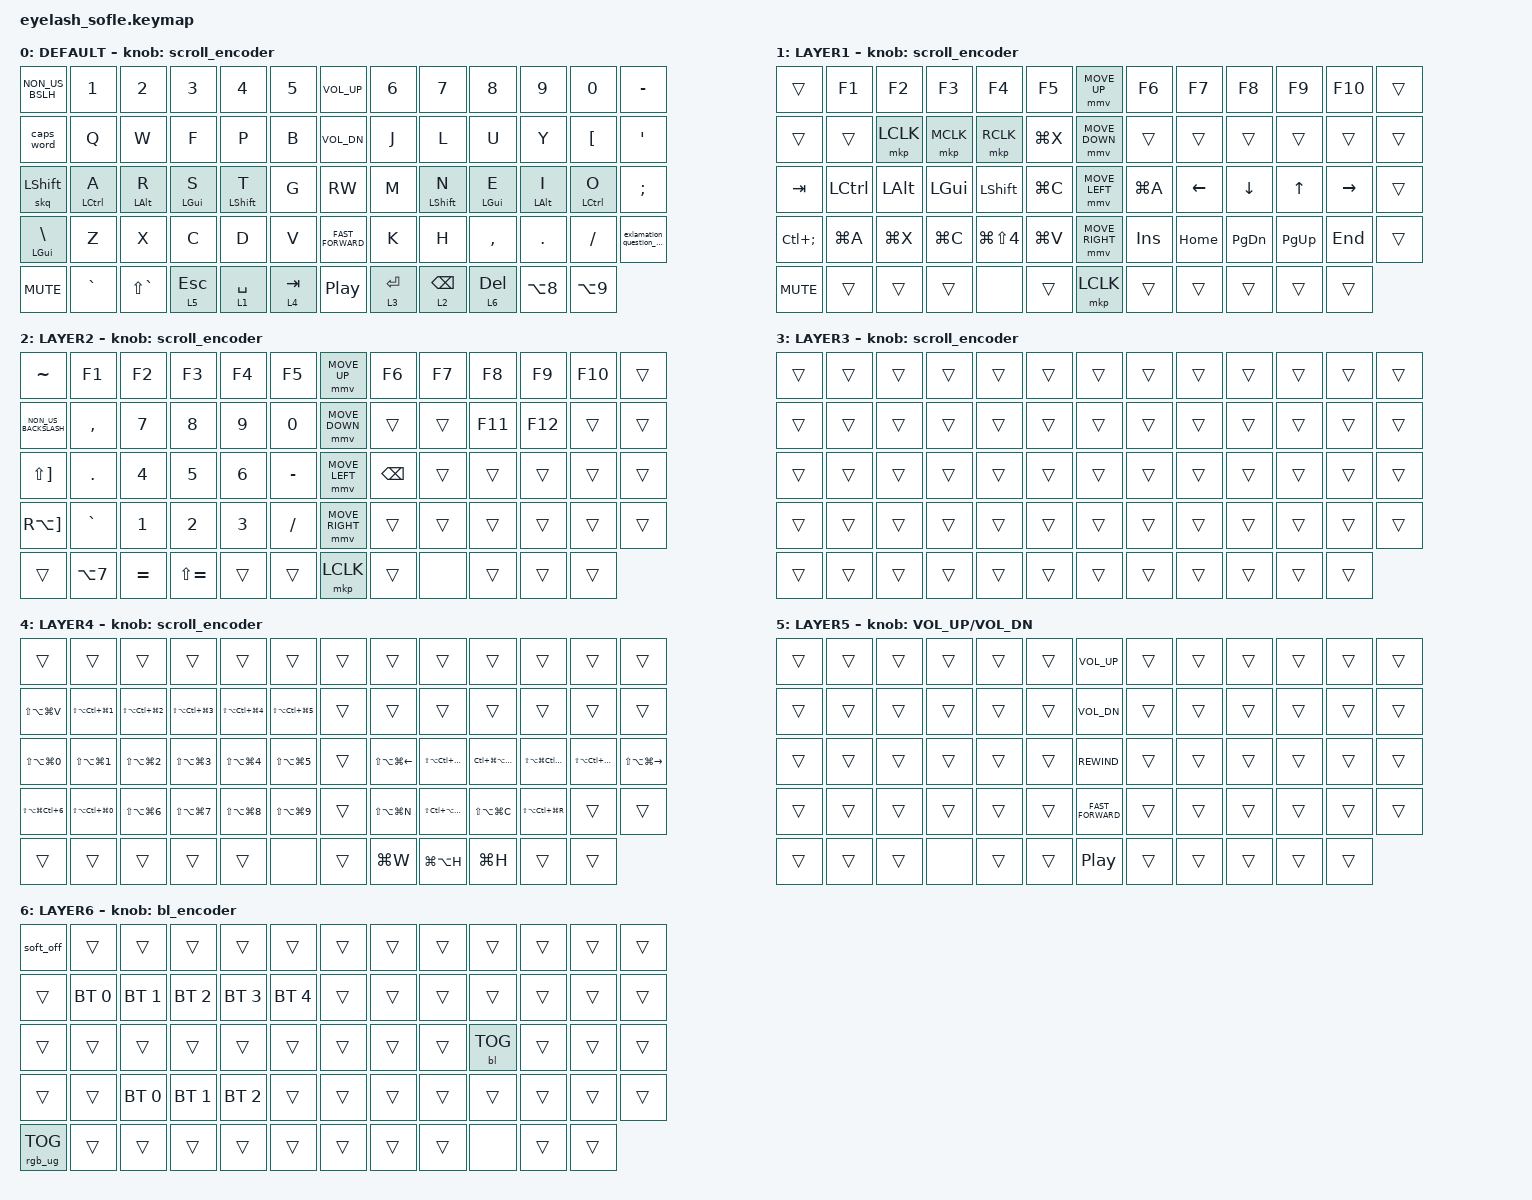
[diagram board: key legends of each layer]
#define ZMK_POINTING_DEFAULT_MOVE_VAL 1200  // 600
#define ZMK_POINTING_DEFAULT_SCRL_VAL 25   // 10

#include <input/processors.dtsi>
#include <zephyr/dt-bindings/input/input-event-codes.h>
#include "alias_sofle.h"
#include <behaviors.dtsi>
#include <dt-bindings/zmk/backlight.h>
#include <dt-bindings/zmk/bt.h>
#include <dt-bindings/zmk/keys.h>
#include <dt-bindings/zmk/pointing.h>
#include <dt-bindings/zmk/rgb.h>

&mmv_input_listener { input-processors = <&zip_xy_scaler 2 1>; };

&msc_input_listener { input-processors = <&zip_scroll_scaler 2 1>; };

&msc {
    acceleration-exponent = <1>;      // 0
    time-to-max-speed-ms = <100>;       // 300
    delay-ms = <0>;                   // 0
};

&mmv {
    time-to-max-speed-ms = <500>;
    acceleration-exponent = <1>;
    trigger-period-ms = <16>;
};

// Homerow mods
#define HRM_BEHAVIOR "tap-preferred"
#define HRM_TAPPING_TERM_MS 180
#define HRM_REQUIRE_PRIOR_IDLE_MS 80
#define HRM_QUICK_TAP_MS 160
#define COMBO_TIMEOUT_MS 30
#define COMBO_REQUIRE_PRIOR_IDLE_MS 80

/ {
    scroll_encoder: scroll_encoder {
        compatible = "zmk,behavior-sensor-rotate";
        #sensor-binding-cells = <0>;
        bindings = <&msc SCRL_DOWN>, <&msc SCRL_UP>;

        tap-ms = <100>;
    };

    hml: homerow_mods_left {
        compatible = "zmk,behavior-hold-tap";
        label = "HOMEROW_MODS_LEFT";
        flavor =
        HRM_BEHAVIOR;
        tapping-term-ms = <HRM_TAPPING_TERM_MS>;
        quick-tap-ms = <HRM_QUICK_TAP_MS>;
        require-prior-idle-ms = <HRM_REQUIRE_PRIOR_IDLE_MS>;
        hold-trigger-key-positions = <KEYS_R KEYS_T>;
        hold-trigger-on-release;
        #binding-cells = <2>;
        bindings = <&kp>, <&kp>;
    };

    hmr: homerow_mods_right {
        compatible = "zmk,behavior-hold-tap";
        label = "HOMEROW_MODS_RIGHT";
        flavor =
        HRM_BEHAVIOR;
        tapping-term-ms = <HRM_TAPPING_TERM_MS>;
        quick-tap-ms = <HRM_QUICK_TAP_MS>;
        require-prior-idle-ms = <HRM_REQUIRE_PRIOR_IDLE_MS>;
        hold-trigger-key-positions = <KEYS_L KEYS_T>;
        hold-trigger-on-release;
        #binding-cells = <2>;
        bindings = <&kp>, <&kp>;
    };

    exlamation_question_mark: exlamation_question_mark {
        compatible = "zmk,behavior-mod-morph";
        label = "EXLAMATION_QUESTION_MARK";
        bindings = <&kp LS(NUMBER_1)>, <&kp MINUS>;

        #binding-cells = <0>;
        mods = <(MOD_LSFT)>;
        keep-mods = <(MOD_LSFT)>;
    };

    thumb_layers: thumb_layers {
        compatible = "zmk,behavior-hold-tap";
        label = "THUMB_LAYERS";
        flavor =
        HRM_BEHAVIOR;
        tapping-term-ms = <HRM_TAPPING_TERM_MS>;
        quick-tap-ms = <HRM_QUICK_TAP_MS>;
        require-prior-idle-ms = <HRM_REQUIRE_PRIOR_IDLE_MS>;
        hold-trigger-on-release;
        #binding-cells = <2>;
        bindings = <&mo>, <&kp>;
    };

    behaviors {
        skq: sticky_key_quick_release {
            compatible = "zmk,behavior-sticky-key";
            #binding-cells = <1>;
            bindings = <&kp>;
            release-after-ms = <1000>;
            quick-release;
            ignore-modifiers;
        };

        bl_encoder: bl_encoder {
            compatible = "zmk,behavior-sensor-rotate";
            label = "BL_ENCODER";
            #sensor-binding-cells = <0>;
            bindings = <&rgb_ug RGB_BRI>, <&rgb_ug RGB_BRD>;
        };
    };

    combos {
        compatible = "zmk,combos";

        left_parenthesis {
            bindings = <&kp LS(N8)>;
            key-positions = <30 29>;
            layers = <0>;
            require-prior-idle-ms = <COMBO_REQUIRE_PRIOR_IDLE_MS>;
            timeout-ms = <COMBO_TIMEOUT_MS>;
        };

        right_parenthesis {
            bindings = <&kp LS(N9)>;
            key-positions = <34 35>;
            layers = <0>;
            require-prior-idle-ms = <COMBO_REQUIRE_PRIOR_IDLE_MS>;
            timeout-ms = <COMBO_TIMEOUT_MS>;
        };

        left_bracket {
            bindings = <&kp LA(N8)>;
            key-positions = <30 28>;
            layers = <0>;
            require-prior-idle-ms = <COMBO_REQUIRE_PRIOR_IDLE_MS>;
            timeout-ms = <COMBO_TIMEOUT_MS>;
        };

        right_bracket {
            bindings = <&kp LA(N9)>;
            key-positions = <34 36>;
            timeout-ms = <COMBO_TIMEOUT_MS>;
            require-prior-idle-ms = <COMBO_REQUIRE_PRIOR_IDLE_MS>;
            layers = <0>;
        };

        left_curly {
            bindings = <&kp LA(LS(N8))>;
            key-positions = <30 27>;
            timeout-ms = <COMBO_TIMEOUT_MS>;
            require-prior-idle-ms = <COMBO_REQUIRE_PRIOR_IDLE_MS>;
            layers = <0>;
        };

        right_curly {
            bindings = <&kp LA(LS(N9))>;
            key-positions = <34 37>;
            timeout-ms = <COMBO_TIMEOUT_MS>;
            require-prior-idle-ms = <COMBO_REQUIRE_PRIOR_IDLE_MS>;
            layers = <0>;
        };

        less_than {
            bindings = <&kp GRAVE>;
            key-positions = <29 31>;
            timeout-ms = <COMBO_TIMEOUT_MS>;
            require-prior-idle-ms = <COMBO_REQUIRE_PRIOR_IDLE_MS>;
            layers = <0>;
        };

        greater_than {
            bindings = <&kp LS(GRAVE)>;
            key-positions = <33 35>;
            timeout-ms = <COMBO_TIMEOUT_MS>;
            require-prior-idle-ms = <COMBO_REQUIRE_PRIOR_IDLE_MS>;
            layers = <0>;
        };

        equal {
            bindings = <&kp LS(N0)>;
            key-positions = <16 18>;
            timeout-ms = <COMBO_TIMEOUT_MS>;
            require-prior-idle-ms = <COMBO_REQUIRE_PRIOR_IDLE_MS>;
            layers = <0>;
        };

        star {
            bindings = <&kp LS(BACKSLASH)>;
            key-positions = <31 30>;
            timeout-ms = <COMBO_TIMEOUT_MS>;
            require-prior-idle-ms = <COMBO_REQUIRE_PRIOR_IDLE_MS>;
            layers = <0>;
        };

        quote {
            bindings = <&kp LS(NUMBER_2)>;
            key-positions = <30 29>;
            timeout-ms = <COMBO_TIMEOUT_MS>;
            require-prior-idle-ms = <COMBO_REQUIRE_PRIOR_IDLE_MS>;
            layers = <0>;
        };

        hash {
            bindings = <&kp LS(NUMBER_3)>;
            key-positions = <41 43>;
            timeout-ms = <COMBO_TIMEOUT_MS>;
            require-prior-idle-ms = <COMBO_REQUIRE_PRIOR_IDLE_MS>;
            layers = <0>;
        };

        tilde {
            bindings = <&kp RA(RIGHT_BRACKET)>;
            key-positions = <15 14>;
            timeout-ms = <COMBO_TIMEOUT_MS>;
            require-prior-idle-ms = <COMBO_REQUIRE_PRIOR_IDLE_MS>;
            layers = <0>;
        };

        plus {
            bindings = <&kp MINUS>;
            key-positions = <16 17>;
            timeout-ms = <COMBO_TIMEOUT_MS>;
            require-prior-idle-ms = <COMBO_REQUIRE_PRIOR_IDLE_MS>;
            layers = <0>;
        };

        forward_slash {
            bindings = <&kp LS(N7)>;
            key-positions = <15 17>;
            timeout-ms = <COMBO_TIMEOUT_MS>;
            require-prior-idle-ms = <COMBO_REQUIRE_PRIOR_IDLE_MS>;
            layers = <0>;
        };

        backward_slash {
            bindings = <&kp LS(LA(N7))>;
            key-positions = <16 15>;
            timeout-ms = <COMBO_TIMEOUT_MS>;
            require-prior-idle-ms = <COMBO_REQUIRE_PRIOR_IDLE_MS>;
            layers = <0>;
        };

        n_1 {
            bindings = <&kp NUMBER_1>;
            key-positions = <56 41>;
            timeout-ms = <COMBO_TIMEOUT_MS>;
            require-prior-idle-ms = <COMBO_REQUIRE_PRIOR_IDLE_MS>;
            layers = <0>;
        };

        n_2 {
            bindings = <&kp NUMBER_2>;
            key-positions = <56 42>;
            timeout-ms = <COMBO_TIMEOUT_MS>;
            require-prior-idle-ms = <COMBO_REQUIRE_PRIOR_IDLE_MS>;
            layers = <0>;
        };

        n_3 {
            bindings = <&kp NUMBER_3>;
            key-positions = <43 56>;
            timeout-ms = <COMBO_TIMEOUT_MS>;
            require-prior-idle-ms = <COMBO_REQUIRE_PRIOR_IDLE_MS>;
            layers = <0>;
        };

        n_4 {
            bindings = <&kp NUMBER_4>;
            key-positions = <56 28>;
            timeout-ms = <COMBO_TIMEOUT_MS>;
            require-prior-idle-ms = <COMBO_REQUIRE_PRIOR_IDLE_MS>;
            layers = <0>;
        };

        n_5 {
            bindings = <&kp N5>;
            key-positions = <56 29>;
            timeout-ms = <COMBO_TIMEOUT_MS>;
            require-prior-idle-ms = <COMBO_REQUIRE_PRIOR_IDLE_MS>;
            layers = <0>;
        };

        n_6 {
            bindings = <&kp NUMBER_6>;
            key-positions = <56 30>;
            timeout-ms = <COMBO_TIMEOUT_MS>;
            require-prior-idle-ms = <COMBO_REQUIRE_PRIOR_IDLE_MS>;
            layers = <0>;
        };

        n_7 {
            bindings = <&kp N7>;
            key-positions = <15 56>;
            timeout-ms = <COMBO_TIMEOUT_MS>;
            require-prior-idle-ms = <COMBO_REQUIRE_PRIOR_IDLE_MS>;
            layers = <0>;
        };

        n_8 {
            bindings = <&kp N8>;
            key-positions = <16 56>;
            timeout-ms = <COMBO_TIMEOUT_MS>;
            require-prior-idle-ms = <COMBO_REQUIRE_PRIOR_IDLE_MS>;
            layers = <0>;
        };

        n_9 {
            bindings = <&kp N9>;
            key-positions = <56 17>;
            timeout-ms = <COMBO_TIMEOUT_MS>;
            require-prior-idle-ms = <COMBO_REQUIRE_PRIOR_IDLE_MS>;
            layers = <0>;
        };

        n_0 {
            bindings = <&kp N0>;
            key-positions = <18 56>;
            timeout-ms = <COMBO_TIMEOUT_MS>;
            require-prior-idle-ms = <COMBO_REQUIRE_PRIOR_IDLE_MS>;
            layers = <0>;
        };

        underscore {
            bindings = <&kp LS(FSLH)>;
            key-positions = <48 47>;
            timeout-ms = <COMBO_TIMEOUT_MS>;
            require-prior-idle-ms = <COMBO_REQUIRE_PRIOR_IDLE_MS>;
            layers = <0>;
        };

        colon {
            bindings = <&kp LS(PERIOD)>;
            key-positions = <49 48>;
            timeout-ms = <COMBO_TIMEOUT_MS>;
            require-prior-idle-ms = <COMBO_REQUIRE_PRIOR_IDLE_MS>;
            layers = <0>;
        };

        semi_colon {
            bindings = <&kp LS(COMMA)>;
            key-positions = <49 47>;
            timeout-ms = <COMBO_TIMEOUT_MS>;
            require-prior-idle-ms = <COMBO_REQUIRE_PRIOR_IDLE_MS>;
            layers = <0>;
        };

        at_sign {
            bindings = <&kp LA(NUMBER_2)>;
            key-positions = <42 41>;
            timeout-ms = <COMBO_TIMEOUT_MS>;
            require-prior-idle-ms = <COMBO_REQUIRE_PRIOR_IDLE_MS>;
            layers = <0>;
        };

        ampersand {
            bindings = <&kp LS(NUMBER_6)>;
            key-positions = <44 43>;
            timeout-ms = <COMBO_TIMEOUT_MS>;
            require-prior-idle-ms = <COMBO_REQUIRE_PRIOR_IDLE_MS>;
            layers = <0>;
        };

        percent {
            bindings = <&kp LS(N5)>;
            key-positions = <40 43>;
            timeout-ms = <50>;
            require-prior-idle-ms = <COMBO_REQUIRE_PRIOR_IDLE_MS>;
            layers = <0>;
        };

        pipe {
            bindings = <&kp LA(N7)>;
            key-positions = <44 42>;
            timeout-ms = <COMBO_TIMEOUT_MS>;
            require-prior-idle-ms = <COMBO_REQUIRE_PRIOR_IDLE_MS>;
            layers = <0>;
        };

        string_literal {
            bindings = <&kp LS(EQUAL)>;
            key-positions = <33 34>;
            timeout-ms = <COMBO_TIMEOUT_MS>;
            require-prior-idle-ms = <COMBO_REQUIRE_PRIOR_IDLE_MS>;
            layers = <0>;
        };
    };

    keymap {
        compatible = "zmk,keymap";

        DEFAULT {
            bindings = <
&kp NON_US_BSLH         &kp N1               &kp N2           &kp N3               &kp N4                 &kp N5                 &kp C_VOLUME_UP     &kp N6                 &kp N7                     &kp N8                  &kp N9            &kp N0               &kp MINUS
&caps_word              &kp Q                &kp W            &kp F                &kp P                  &kp B                  &kp C_VOL_DN        &kp J                  &kp L                      &kp U                   &kp Y             &kp LBKT             &kp SQT
&skq LEFT_SHIFT         &hml LEFT_CONTROL A  &hml LEFT_ALT R  &hml LEFT_GUI S      &hml LEFT_SHIFT T      &kp G                  &kp C_RW            &kp M                  &hmr LEFT_SHIFT N          &hmr LEFT_GUI E         &hmr LEFT_ALT I   &hmr LEFT_CONTROL O  &kp SEMI
&mt LEFT_GUI BACKSLASH  &kp Z                &kp X            &kp C                &kp D                  &kp V                  &kp C_FAST_FORWARD  &kp K                  &kp H                      &kp COMMA               &kp DOT           &kp FSLH             &exlamation_question_mark
&kp C_MUTE              &kp GRAVE            &kp LS(GRAVE)    &thumb_layers 5 ESC  &thumb_layers 1 SPACE  &thumb_layers 4 TAB    &kp C_PP            &thumb_layers 3 ENTER  &thumb_layers 2 BACKSPACE  &thumb_layers 6 DELETE  &kp LA(NUMBER_8)  &kp LA(NUMBER_9)
            >;

            sensor-bindings = <&scroll_encoder>;
            display-name = "DEFAULT";
        };

        LAYER1 {
            bindings = <
&trans        &kp F1            &kp F2        &kp F3        &kp F4                &kp F5       &mmv MOVE_UP     &kp F6      &kp F7    &kp F8         &kp F9        &kp F10    &trans
&trans        &trans            &mkp LCLK     &mkp MCLK     &mkp RCLK             &kp LG(X)    &mmv MOVE_DOWN   &trans      &trans    &trans         &trans        &trans     &trans
&kp TAB       &kp LEFT_CONTROL  &kp LEFT_ALT  &kp LEFT_GUI  &kp LEFT_SHIFT        &kp LG(C)    &mmv MOVE_LEFT   &kp LG(A)   &kp LEFT  &kp DOWN       &kp UP_ARROW  &kp RIGHT  &trans
&kp LC(SEMI)  &kp LG(A)         &kp LG(X)     &kp LG(C)     &kp LG(LS(NUMBER_4))  &kp LG(V)    &mmv MOVE_RIGHT  &kp INSERT  &kp HOME  &kp PAGE_DOWN  &kp PAGE_UP   &kp END    &trans
&kp C_MUTE    &trans            &trans        &trans        &none                 &trans       &mkp LCLK        &trans      &trans    &trans         &trans        &trans
            >;

            display-name = "LAYER1";
            sensor-bindings = <&scroll_encoder>;
        };

        LAYER2 {
            bindings = <
&kp TILDE              &kp F1      &kp F2        &kp F3         &kp F4        &kp F5       &mmv MOVE_UP     &kp F6         &kp F7  &kp F8   &kp F9   &kp F10  &trans
&kp NON_US_BACKSLASH   &kp COMMA   &kp N7        &kp N8         &kp N9        &kp N0       &mmv MOVE_DOWN   &trans         &trans  &kp F11  &kp F12  &trans   &trans
&kp LS(RIGHT_BRACKET)  &kp DOT     &kp NUMBER_4  &kp N5         &kp NUMBER_6  &kp MINUS    &mmv MOVE_LEFT   &kp BACKSPACE  &trans  &trans   &trans   &trans   &trans
&kp RA(RIGHT_BRACKET)  &kp GRAVE   &kp NUMBER_1  &kp NUMBER_2   &kp NUMBER_3  &kp FSLH     &mmv MOVE_RIGHT  &trans         &trans  &trans   &trans   &trans   &trans
&trans                 &kp LA(N7)  &kp EQUAL     &kp LS(EQUAL)  &trans        &trans       &mkp LCLK        &trans         &none   &trans   &trans   &trans
            >;

            display-name = "LAYER2";
            sensor-bindings = <&scroll_encoder>;
        };

        LAYER3 {
            bindings = <
&trans  &trans  &trans  &trans  &trans  &trans    &trans  &trans  &trans  &trans  &trans  &trans  &trans
&trans  &trans  &trans  &trans  &trans  &trans    &trans  &trans  &trans  &trans  &trans  &trans  &trans
&trans  &trans  &trans  &trans  &trans  &trans    &trans  &trans  &trans  &trans  &trans  &trans  &trans
&trans  &trans  &trans  &trans  &trans  &trans    &trans  &trans  &trans  &trans  &trans  &trans  &trans
&trans  &trans  &trans  &trans  &trans  &trans    &trans  &trans  &trans  &trans  &trans  &trans
            >;

            display-name = "LAYER3";
            sensor-bindings = <&scroll_encoder>;
        };

        LAYER4 {
            bindings = <
&trans                        &trans                        &trans                        &trans                        &trans                        &trans                      &trans  &trans                &trans                    &trans                          &trans                        &trans                     &trans
&kp LS(LA(LG(V)))             &kp LS(LA(LC(LG(NUMBER_1))))  &kp LS(LA(LC(LG(NUMBER_2))))  &kp LS(LA(LC(LG(NUMBER_3))))  &kp LS(LA(LC(LG(NUMBER_4))))  &kp LS(LA(LC(LG(N5))))      &trans  &trans                &trans                    &trans                          &trans                        &trans                     &trans
&kp LS(LA(LG(N0)))            &kp LS(LA(LG(NUMBER_1)))      &kp LS(LA(LG(NUMBER_2)))      &kp LS(LA(LG(NUMBER_3)))      &kp LS(LA(LG(NUMBER_4)))      &kp LS(LA(LG(NUMBER_5)))    &trans  &kp LS(LA(LG(LEFT)))  &kp LS(LA(LC(LG(LEFT))))  &kp LC(LG(LA(LS(DOWN_ARROW))))  &kp LS(LA(LG(LC(UP_ARROW))))  &kp LS(LA(LC(LG(RIGHT))))  &kp LS(LA(LG(RIGHT)))
&kp LS(LA(LG(LC(NUMBER_6))))  &kp LS(LA(LC(LG(N0))))        &kp LS(LA(LG(NUMBER_6)))      &kp LS(LA(LG(N7)))            &kp LS(LA(LG(N8)))            &kp LS(LA(LG(N9)))          &trans  &kp LS(LA(LG(N)))     &kp LS(LC(LA(LG(M))))     &kp LS(LA(LG(C)))               &kp LS(LA(LC(LG(R))))         &trans                     &trans
&trans                        &trans                        &trans                        &trans                        &trans                        &none                       &trans  &kp LG(W)             &kp LG(LA(H))             &kp LG(H)                       &trans                        &trans
            >;

            display-name = "LAYER4";
            sensor-bindings = <&scroll_encoder>;
        };

        LAYER5 {
            bindings = <
&trans  &trans  &trans  &trans  &trans  &trans    &kp C_VOLUME_UP     &trans  &trans  &trans  &trans  &trans  &trans
&trans  &trans  &trans  &trans  &trans  &trans    &kp C_VOL_DN        &trans  &trans  &trans  &trans  &trans  &trans
&trans  &trans  &trans  &trans  &trans  &trans    &kp C_REWIND        &trans  &trans  &trans  &trans  &trans  &trans
&trans  &trans  &trans  &trans  &trans  &trans    &kp C_FAST_FORWARD  &trans  &trans  &trans  &trans  &trans  &trans
&trans  &trans  &trans  &none   &trans  &trans    &kp C_PLAY_PAUSE    &trans  &trans  &trans  &trans  &trans
            >;

            display-name = "LAYER5";
            sensor-bindings = <&inc_dec_kp C_VOL_UP C_VOL_DN>;
        };

        LAYER6 {
            bindings = <
&soft_off        &trans        &trans        &trans        &trans        &trans          &trans  &trans  &trans  &trans      &trans  &trans  &trans
&trans           &bt BT_SEL 0  &bt BT_SEL 1  &bt BT_SEL 2  &bt BT_SEL 3  &bt BT_SEL 4    &trans  &trans  &trans  &trans      &trans  &trans  &trans
&trans           &trans        &trans        &trans        &trans        &trans          &trans  &trans  &trans  &bl BL_TOG  &trans  &trans  &trans
&trans           &trans        &bt BT_SEL 0  &bt BT_SEL 1  &bt BT_SEL 2  &trans          &trans  &trans  &trans  &trans      &trans  &trans  &trans
&rgb_ug RGB_TOG  &trans        &trans        &trans        &trans        &trans          &trans  &trans  &trans  &none       &trans  &trans
            >;

            display-name = "LAYER6";
            sensor-bindings = <&bl_encoder>;
        };
    };
};
